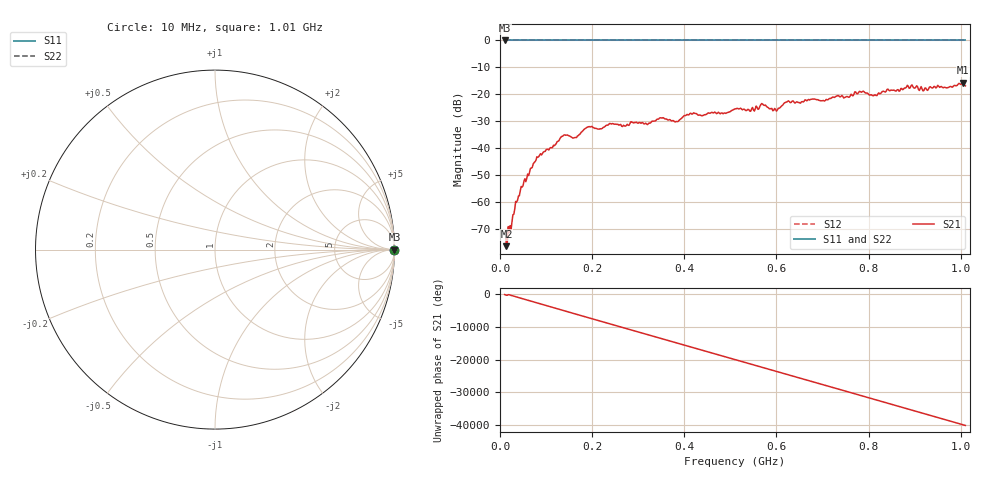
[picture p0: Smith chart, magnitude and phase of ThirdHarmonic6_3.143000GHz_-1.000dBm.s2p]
! 8/17/2025 9:23:24 AM
! C:\ANRITSUVNA\TEMP\TEMP.S2P
! CHANNEL.1
! TR.MEASUREMENT
! RAW.DATA
! RF.CORRECTION.OFF
! AVERAGING.OFF
! IF.BANDWIDTH: 5KHZ
! SWEEPTYPE:  FREQ.SWEEP(Linear)
! Reference Plane Port Info
! PORT:  PORT1  PORT2
! DISTANCE:  0  m  0  m
! TIME:  0  s  0  s
! PHASE.OFFSET:  0  deg.  0  deg.
! LOSS:  0  dB  0  dB
! REF.LOSS:  0  dB  0  dB
! REF.FREQ:  0  Hz  0  Hz
! Power Info
! POWER:  -20  dBm  -20  dBm
! EFF.POWER:  -20  dBm  -20  dBm
! SOURCE.ATTEN:  0  dB  0  dB
! TEST.ATTEN:  0  dB  0  dB
# GHZ S RI R 50.0
! FREQ.GHZ  S11RE  S11IM  S21RE  S21IM  S12RE  S12IM  S22RE  S22IM
!; PortSelection: Port_12
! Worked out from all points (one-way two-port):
!   501 points, 10 MHz to 1.01 GHz, reference 50 ohm
!   highest |S21| = -15.69 dB at 1.004 GHz (marker M1); lowest = -76.4 dB at 14 MHz (marker M2)
!   lowest |S11| = 0.0 dB at 10 MHz (marker M3)
!   |S11| at or under -10 dB: nowhere
!   |S22| runs from 0.0 to 0.0 dB; largest |S21 - S12| = 1.2
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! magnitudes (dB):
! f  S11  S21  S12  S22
! 10 MHz  0.0  -71.8  0.0  0.0
! 14 MHz  0.0  -76.4  0.0  0.0
! 18 MHz  0.0  -69.2  0.0  0.0
! 36 MHz  0.0  -60.0  0.0  0.0
! 50 MHz  0.0  -54.0  0.0  0.0
! 84 MHz  0.0  -43.2  0.0  0.0
! 136 MHz  0.0  -35.6  0.0  0.0
! 162 MHz  0.0  -36.1  0.0  0.0
! 178 MHz  0.0  -33.9  0.0  0.0
! 344 MHz  0.0  -29.2  0.0  0.0
! 382 MHz  0.0  -30.1  0.0  0.0
! 416 MHz  0.0  -27.4  0.0  0.0
! 510 MHz  0.0  -25.4  0.0  0.0
! 570 MHz  0.0  -23.6  0.0  0.0
! 596 MHz  0.0  -25.3  0.0  0.0
! 622 MHz  0.0  -22.9  0.0  0.0
! 678 MHz  0.0  -21.8  0.0  0.0
! 784 MHz  0.0  -19.3  0.0  0.0
! 814 MHz  0.0  -20.2  0.0  0.0
! 844 MHz  0.0  -18.5  0.0  0.0
! 1.004 GHz  0.0  -15.7  0.0  0.0
! 1.01 GHz  0.0  -16.9  0.0  0.0
